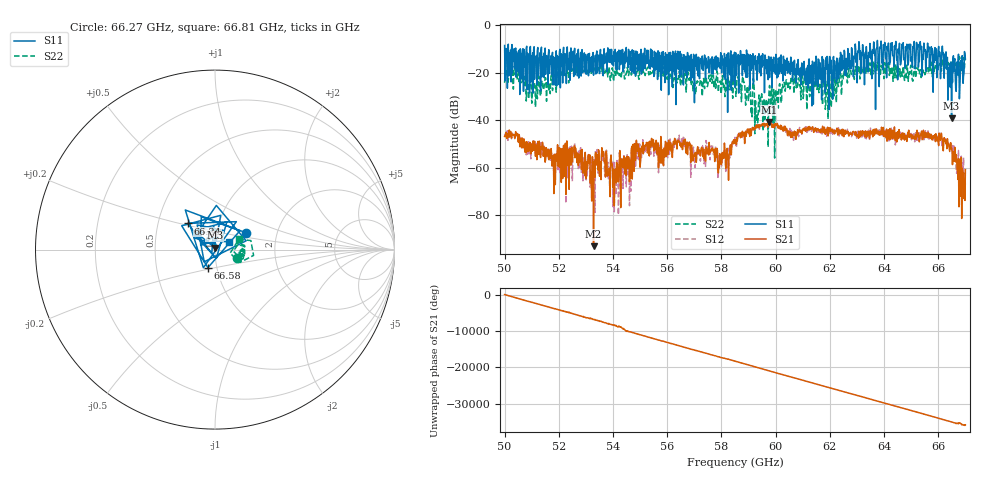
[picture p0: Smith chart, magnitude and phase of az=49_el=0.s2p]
!Created with skrf (http://scikit-rf.org).
# GHz S RI R 50.0
!freq ReS11 ImS11 ReS21 ImS21 ReS12 ImS12 ReS22 ImS22
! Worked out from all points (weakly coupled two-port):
!   1001 points, 50 GHz to 67 GHz, reference 50 ohm
!   highest |S21| = -40.69 dB at 59.76 GHz (marker M1); lowest = -93.1 dB at 53.28 GHz (marker M2)
!   lowest |S11| = -39.1 dB at 66.49 GHz (marker M3), VSWR 1.02, Z = 49.8 + j1.09 ohm
!   |S11| at or under -10 dB: 52.58 GHz to 53.67 GHz (1.087 GHz wide, 2.05 % of centre); 55.39 GHz to 62.66 GHz (7.276 GHz wide, 12.3 % of centre); 66.16 GHz to end of sweep (the widest 3 of 60)
!   |S22| runs from -55.9 to -13.3 dB; largest |S21 - S12| = 0.0021
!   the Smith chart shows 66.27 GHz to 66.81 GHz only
!   S11 on the Smith chart (normalised r, x): 66.27 GHz: 1.40, +0.27; 66.34 GHz: 0.71, +0.22; 66.58 GHz: 0.91, -0.18; 66.81 GHz: 1.17, +0.10
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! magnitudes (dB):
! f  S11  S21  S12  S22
! 50 GHz  -8.5  -46.8  -46.0  -24.2
! 51.14 GHz  -13.6  -55.2  -54.7  -34.5
! 52.84 GHz  -12.6  -60.8  -62.7  -19.9
! 53.28 GHz  -21.0  -93.1  -64.1  -19.0
! 53.67 GHz  -9.9  -57.3  -55.3  -20.2
! 54.13 GHz  -11.8  -57.8  -60.2  -18.4
! 54.88 GHz  -16.4  -53.1  -56.3  -17.9
! 55.68 GHz  -13.6  -60.1  -62.1  -21.9
! 56.53 GHz  -12.2  -50.8  -50.5  -20.8
! 57.96 GHz  -18.2  -56.3  -54.7  -23.5
! 58.5 GHz  -26.1  -48.2  -47.2  -24.5
! 59.3 GHz  -15.0  -42.0  -42.3  -40.7
! 59.76 GHz  -15.0  -40.7  -40.7  -27.5
! 60.64 GHz  -15.5  -45.4  -45.0  -22.3
! 61.34 GHz  -33.9  -43.4  -44.2  -26.5
! 64.18 GHz  -12.0  -48.0  -48.7  -17.4
! 66.27 GHz  -14.0  -48.4  -47.9  -17.8
! 66.34 GHz  -13.5  -47.8  -49.7  -17.5
! 66.49 GHz  -39.1  -51.6  -50.4  -15.5
! 66.58 GHz  -19.3  -57.4  -50.8  -15.6
! 66.81 GHz  -20.9  -56.3  -61.5  -16.9
! 67 GHz  -14.2  -60.8  -67.8  -14.4
